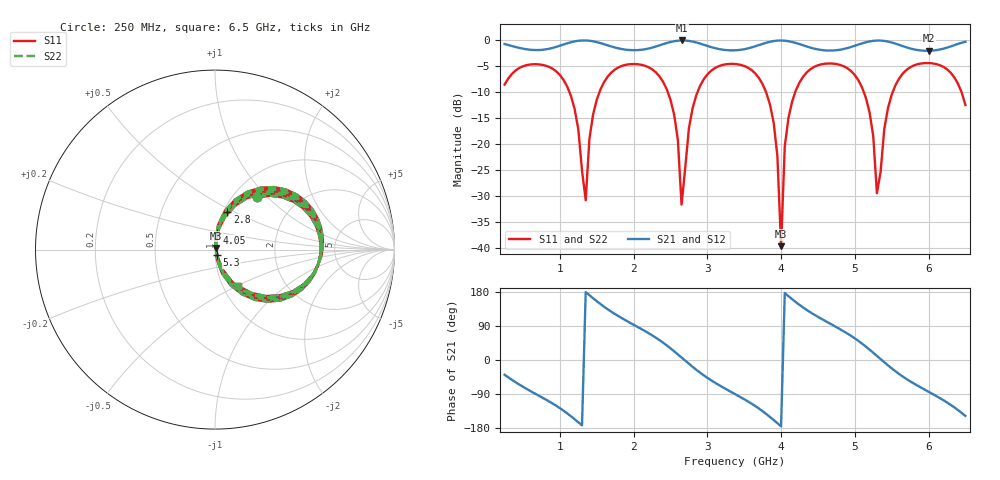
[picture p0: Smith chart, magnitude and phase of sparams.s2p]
! NobuRF kit-ro100-r2-line48: ports 1 "p1", 2 "p2"; 14400 + 14400 steps
# GHz S RI R 50
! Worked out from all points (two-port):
!   126 points, 250 MHz to 6.5 GHz, reference 50 ohm
!   highest |S21| = -0.02 dB at 2.65 GHz (marker M1); lowest = -2.0 dB at 6 GHz (marker M2)
!   |S21| within 3 dB of the highest: start of sweep to end of sweep
!   lowest |S11| = -39.6 dB at 4 GHz (marker M3), VSWR 1.02, Z = 50.4 + j0.976 ohm
!   |S11| at or under -10 dB: 1.13 GHz to 1.536 GHz (406.2 MHz wide, 30.5 % of centre); 2.464 GHz to 2.866 GHz (402 MHz wide, 15.1 % of centre); 3.797 GHz to 4.192 GHz (394.8 MHz wide, 9.88 % of centre)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
!   |S22| runs from -39.6 to -4.4 dB; largest |S21 - S12| = 2.6e-07
!   S11 on the Smith chart (normalised r, x): 250 MHz: 1.28, +0.87; 2.8 GHz: 1.04, +0.46; 4.05 GHz: 1.00, +0.19; 5.3 GHz: 1.02, -0.07; 6.5 GHz: 1.18, -0.50
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0.25  0.2351 0.2918  0.7166 -0.5787  0.7166 -0.5787  0.2351 0.2918
1  0.3679 -0.2824  -0.5354 -0.7086  -0.5354 -0.7086  0.3679 -0.2824
1.3  0.0105 -0.0549  -0.9884 -0.1299  -0.9884 -0.1299  0.0105 -0.0549
1.35  0.00386 0.0286  -0.9973 0.0131  -0.9973 0.0131  0.00387 0.0286
1.45  0.0572 0.184  -0.9362 0.2861  -0.9362 0.2861  0.0572 0.184
1.65  0.3229 0.3121  -0.6167 0.6475  -0.6167 0.6475  0.3229 0.3121
2.35  0.3559 -0.276  0.5429 0.7109  0.5429 0.7109  0.3559 -0.276
2.55  0.0758 -0.1762  0.903 0.3823  0.903 0.3823  0.0758 -0.1762
2.65  0.00667 -0.0254  0.9908 0.1141  0.9908 0.1141  0.00667 -0.0254
2.8  0.0688 0.2116  0.9259 -0.2999  0.9259 -0.2999  0.0688 0.2116
3.4  0.589 -0.0223  -0.0367 -0.803  -0.0367 -0.803  0.589 -0.0223
3.85  0.1197 -0.208  -0.8423 -0.4783  -0.8423 -0.4783  0.1197 -0.208
3.95  0.0221 -0.0737  -0.9669 -0.2289  -0.9669 -0.2289  0.0221 -0.0737
4  0.00392 0.00968  -0.9926 -0.0868  -0.9926 -0.0868  0.00392 0.00968
4.05  0.00933 0.0949  -0.9906 0.0574  -0.9906 0.0574  0.00933 0.0949
4.45  0.4838 0.2735  -0.411 0.7231  -0.411 0.7231  0.4838 0.2735
5.1  0.2376 -0.257  0.6842 0.6382  0.6842 0.6382  0.2376 -0.257
5.25  0.0435 -0.1117  0.934 0.3252  0.934 0.3252  0.0435 -0.1117
5.3  0.0115 -0.0318  0.9775 0.1874  0.9775 0.1874  0.0115 -0.0318
5.5  0.1106 0.2778  0.8839 -0.3566  0.8839 -0.3566  0.1106 0.2778
6  0.6005 0.0672  0.0863 -0.7884  0.0863 -0.7884  0.6005 0.0672
6.5  0.1285 -0.2014  -0.8177 -0.5191  -0.8177 -0.5191  0.1285 -0.2014
